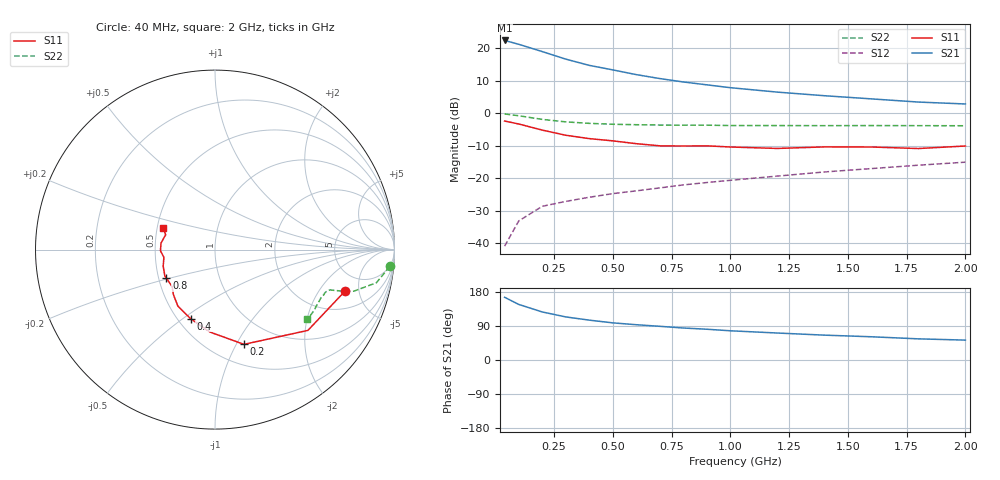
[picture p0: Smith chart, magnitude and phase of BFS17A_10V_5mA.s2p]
! Filename:  BFS17AG.S2P  Version:  2.0
! Philips part #: BFS17A  Date: May 1990
! Bias condition: Vce=10V, Ic=5mA
#  MHz  S  MA  R  50
! Freq  S11  S21  S12  S22  !GUM [dB]
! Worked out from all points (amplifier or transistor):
!   16 points, 40 MHz to 2 GHz, reference 50 ohm
!   highest |S21| = 22.4 dB at 40 MHz (marker M1)
!   |S21| within 3 dB of that: start of sweep to 181 MHz
!   unconditionally stable (mu >= 1): 679.1 MHz to 1.98 GHz
!   at 200 MHz: K = 0.47, MSG = 23.8 dB, |S12| = -28.6 dB
!   at 800 MHz: K = 1.02, MAG = 15.0 dB, |S12| = -22.0 dB
!   at 2 GHz: K = 0.99, MSG = 9.0 dB, |S12| = -15.0 dB
!   S11 on the Smith chart (normalised r, x): 40 MHz: 3.28, -3.59; 200 MHz: 0.71, -1.08; 400 MHz: 0.58, -0.53; 800 MHz: 0.55, -0.19; 2 GHz: 0.54, +0.15
40  0.761 -17.6  13.26 165.5  0.009 77.5  0.979 -5.5
100  0.686 -41.0  11.57 146.7  0.022 69.8  0.918 -11.6
200  0.552 -73.0  8.937 126.8  0.037 61.8  0.807 -16.7
300  0.46 -93.6  6.841 113.7  0.044 58.1  0.739 -18.2
400  0.408 -109.5  5.48 105.2  0.051 60.0  0.701 -18.9
500  0.377 -123.2  4.67 98.0  0.058 62.0  0.679 -19.3
600  0.341 -132.9  3.948 93.1  0.064 63.3  0.668 -20.1
700  0.316 -138.9  3.433 88.9  0.071 66.4  0.661 -20.9
800  0.314 -149.7  3.043 84.4  0.079 67.0  0.657 -21.7
900  0.316 -152.1  2.748 81.2  0.086 69.5  0.657 -22.5
1000  0.303 -162.3  2.484 77.1  0.093 70.5  0.649 -23.7
1200  0.288 -171.3  2.123 71.2  0.108 72.5  0.648 -26.0
1400  0.304 -178.8  1.868 65.6  0.125 74.1  0.646 -29.0
1600  0.303 173.1  1.67 61.3  0.141 76.2  0.648 -31.4
1800  0.287 163.3  1.492 55.8  0.159 76.8  0.646 -34.1
2000  0.314 157.1  1.394 52.5  0.177 77.7  0.644 -37.1
